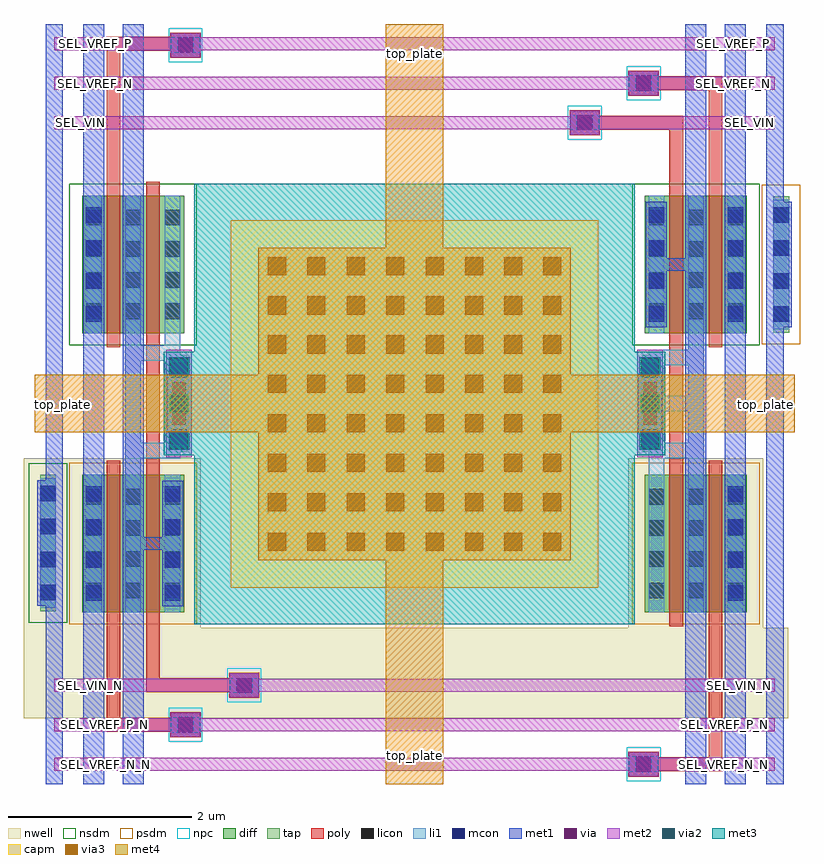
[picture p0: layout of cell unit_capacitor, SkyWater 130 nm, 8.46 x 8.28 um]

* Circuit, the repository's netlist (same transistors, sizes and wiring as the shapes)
***********************************************************
* CDL produced by pvsBuildNetlist on Jul 15 21:54:35 2026 *
***********************************************************


*pvsViewList = auCdl schematic
*pvsStopList = ("auCdl")
*pvsSimName  = auCdl



*.EXPAND_ON_M_FACTOR
*.MEGA



.subckt unit_capacitor SEL_VIN SEL_VIN_N SEL_VREF_N SEL_VREF_N_N SEL_VREF_P
+  SEL_VREF_P_N VDD VIN VREF_N VREF_P VSS top_plate
*PVSCELL netlisted from NS_SAR_Analog unit_capacitor schematic
  CC0 top_plate bottom_plate cap_mim_m3__base l=4u w=4u m=1
  MNM0 VIN SEL_VIN bottom_plate VSS nfet_01v8 M=1 L=150n W=1.5u
  MNM1 bottom_plate SEL_VIN_N bottom_plate VSS nfet_01v8 M=1 L=150n W=1.5u
  MNM2 bottom_plate SEL_VREF_P VREF_P VSS nfet_01v8 M=1 L=150n W=1.5u
  MNM3 bottom_plate SEL_VREF_N VREF_N VSS nfet_01v8 M=1 L=150n W=1.5u
  MPM0 bottom_plate SEL_VIN_N VIN VDD pfet_01v8 M=1 L=150n W=1.5u
  MPM1 bottom_plate SEL_VIN bottom_plate VDD pfet_01v8 M=1 L=150n W=1.5u
  MPM2 VREF_P SEL_VREF_P_N bottom_plate VDD pfet_01v8 M=1 L=150n W=1.5u
  MPM3 VREF_N SEL_VREF_N_N bottom_plate VDD pfet_01v8 M=1 L=150n W=1.5u
.ends unit_capacitor


***********************************************************
*             Completed at Jul 15 21:54:35 2026           *
***********************************************************

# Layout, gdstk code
from math import pi, radians
import gdstk
lib = gdstk.Library(unit=1e-6, precision=1e-09)
def R(c, l, rs):  # rectangles x0, y0, x1, y1
    for r in rs: c.add(gdstk.rectangle(r[:2], r[2:], *l))
def A(c, l, x, y, w, h, nx, ny, dx, dy):  # array of equal rectangles
    R(c, l, [(x+i*dx, y+j*dy, x+i*dx+w, y+j*dy+h) for i in range(nx) for j in range(ny)])
nwell = (64, 20)
diff = (65, 20)
tap = (65, 44)
poly = (66, 20)
licon = (66, 44)
li1 = (67, 20)
mcon = (67, 44)
met1 = (68, 20)
via = (68, 44)
met2 = (69, 20)
via2 = (69, 44)
met3 = (70, 20)
via3 = (70, 44)
met4 = (71, 20)
capm = (89, 44)
nsdm = (93, 44)
psdm = (94, 20)
npc = (95, 20)

cap_mim_m3__base__10 = lib.new_cell('cap_mim_m3__base$$10')
R(cap_mim_m3__base__10, met3, [(-0.4,-0.4,4.4,4.4)])
A(cap_mim_m3__base__10, via3, 0.4, 0.4, 0.2, 0.2, 6, 6, 0.43, 0.43)
A(cap_mim_m3__base__10, via3, 2.975, 0.4, 0.2, 0.2, 1, 6, 0, 0.43)
A(cap_mim_m3__base__10, via3, 3.4, 0.4, 0.2, 0.2, 1, 6, 0, 0.43)
A(cap_mim_m3__base__10, via3, 0.4, 2.975, 0.2, 0.2, 6, 2, 0.43, 0.425)
R(cap_mim_m3__base__10, via3, [(2.975,2.975,3.175,3.175), (3.4,2.975,3.6,3.175), (2.975,3.4,3.175,3.6), (3.4,3.4,3.6,3.6)])
R(cap_mim_m3__base__10, met4, [(0.3,0.3,3.7,3.7)])
R(cap_mim_m3__base__10, capm, [(0,0,4,4)])

pfet_01v8__11 = lib.new_cell('pfet_01v8$$11')
R(pfet_01v8__11, nwell, [(-0.405,-0.18,0.595,1.68)])
R(pfet_01v8__11, diff, [(-0.225,0,0,1.5), (0,0,0.15,1.5), (0.15,0,0.415,1.5)])
R(pfet_01v8__11, poly, [(0,-0.15,0.15,-0.095), (0,-0.095,0.15,0), (0,0,0.15,1.5), (0,1.5,0.15,1.595), (0,1.595,0.15,1.65)])
A(pfet_01v8__11, licon, -0.225, 0.155, 0.17, 0.17, 1, 4, 0, 0.34)
A(pfet_01v8__11, licon, 0.205, 0.155, 0.17, 0.17, 1, 4, 0, 0.34)
R(pfet_01v8__11, li1, [(-0.225,0,-0.055,1.5), (0.205,0,0.375,1.5)])
R(pfet_01v8__11, psdm, [(-0.235,-0.13,0.555,1.63)])

pfet_01v8__12 = lib.new_cell('pfet_01v8$$12')
R(pfet_01v8__12, nwell, [(-0.445,-0.18,0.385,1.68)])
R(pfet_01v8__12, diff, [(-0.265,0,0,1.5), (0,0,0.15,1.5), (0.15,0,0.205,1.5)])
R(pfet_01v8__12, poly, [(0,-0.15,0.15,-0.095), (0,-0.095,0.15,0), (0,0,0.15,1.5), (0,1.5,0.15,1.595), (0,1.595,0.15,1.65)])
A(pfet_01v8__12, licon, -0.225, 0.155, 0.17, 0.17, 1, 4, 0, 0.34)
R(pfet_01v8__12, li1, [(-0.225,0,-0.055,1.5)])
R(pfet_01v8__12, psdm, [(-0.405,-0.13,0.215,1.63)])

nfet_01v8__13 = lib.new_cell('nfet_01v8$$13')
R(nfet_01v8__13, diff, [(-0.265,0,0,1.5), (0,0,0.15,1.5), (0.15,0,0.375,1.5)])
R(nfet_01v8__13, poly, [(0,-0.15,0.15,-0.095), (0,-0.095,0.15,0), (0,0,0.15,1.5), (0,1.5,0.15,1.595), (0,1.595,0.15,1.65)])
A(nfet_01v8__13, licon, -0.225, 0.155, 0.17, 0.17, 1, 4, 0, 0.34)
A(nfet_01v8__13, licon, 0.205, 0.155, 0.17, 0.17, 1, 4, 0, 0.34)
R(nfet_01v8__13, li1, [(-0.225,0,-0.055,1.5), (0.205,0,0.375,1.5)])
R(nfet_01v8__13, nsdm, [(-0.405,-0.13,0.385,1.63)])

nfet_01v8__14 = lib.new_cell('nfet_01v8$$14')
R(nfet_01v8__14, diff, [(-0.055,0,0,1.5), (0,0,0.15,1.5), (0.15,0,0.415,1.5)])
R(nfet_01v8__14, poly, [(0,-0.15,0.15,-0.095), (0,-0.095,0.15,0), (0,0,0.15,1.5), (0,1.5,0.15,1.595), (0,1.595,0.15,1.65)])
A(nfet_01v8__14, licon, 0.205, 0.155, 0.17, 0.17, 1, 4, 0, 0.34)
R(nfet_01v8__14, li1, [(0.205,0,0.375,1.5)])
R(nfet_01v8__14, nsdm, [(-0.065,-0.13,0.555,1.63)])

polyconn__1 = lib.new_cell('polyConn$$1')
R(polyconn__1, poly, [(-0.135,-0.165,0.135,0.165)])
R(polyconn__1, licon, [(-0.085,-0.085,0.085,0.085)])
R(polyconn__1, li1, [(-0.085,-0.165,0.085,0.165)])
R(polyconn__1, mcon, [(-0.085,-0.085,0.085,0.085)])
R(polyconn__1, met1, [(-0.13,-0.16,0.13,0.16)])
R(polyconn__1, npc, [(-0.185,-0.185,0.185,0.185)])

m1m2_c__2 = lib.new_cell('M1M2_C$$2')
R(m1m2_c__2, met1, [(-0.13,-0.16,0.13,0.16)])
R(m1m2_c__2, via, [(-0.075,-0.075,0.075,0.075)])
R(m1m2_c__2, met2, [(-0.13,-0.16,0.13,0.16)])

l1m1_c__3 = lib.new_cell('L1M1_C$$3')
R(l1m1_c__3, li1, [(-0.085,-0.525,0.085,0.525)])
A(l1m1_c__3, mcon, -0.085, -0.445, 0.17, 0.17, 1, 3, 0, 0.36)
R(l1m1_c__3, met1, [(-0.115,-0.505,0.115,0.505)])

m1m2_c__4 = lib.new_cell('M1M2_C$$4')
R(m1m2_c__4, met1, [(-0.13,-0.32,0.13,0.32)])
R(m1m2_c__4, via, [(-0.075,-0.235,0.075,-0.085), (-0.075,0.085,0.075,0.235)])
R(m1m2_c__4, met2, [(-0.14,-0.385,0.14,0.385)])

l1m1_c__5 = lib.new_cell('L1M1_C$$5')
R(l1m1_c__5, li1, [(-0.1,-0.3,0.1,0.3)])
R(l1m1_c__5, mcon, [(-0.085,-0.085,0.085,0.085)])
R(l1m1_c__5, met1, [(-0.13,-0.32,0.13,0.32)])

nwelltap__6 = lib.new_cell('nwellTap$$6')
R(nwelltap__6, nwell, [(-0.265,-0.925,0.265,0.925)])
R(nwelltap__6, tap, [(-0.085,-0.745,0.085,0.745)])
A(nwelltap__6, licon, -0.085, -0.625, 0.17, 0.17, 1, 4, 0, 0.36)
R(nwelltap__6, li1, [(-0.085,-0.705,0.085,0.705)])
A(nwelltap__6, mcon, -0.085, -0.625, 0.17, 0.17, 1, 4, 0, 0.36)
R(nwelltap__6, met1, [(-0.115,-0.685,0.115,0.685)])
R(nwelltap__6, nsdm, [(-0.21,-0.87,0.21,0.87)])

subtap__7 = lib.new_cell('subTap$$7')
R(subtap__7, tap, [(-0.085,-0.745,0.085,0.745)])
A(subtap__7, licon, -0.085, -0.625, 0.17, 0.17, 1, 4, 0, 0.36)
R(subtap__7, li1, [(-0.085,-0.705,0.085,0.705)])
A(subtap__7, mcon, -0.085, -0.625, 0.17, 0.17, 1, 4, 0, 0.36)
R(subtap__7, met1, [(-0.115,-0.685,0.115,0.685)])
R(subtap__7, psdm, [(-0.21,-0.87,0.21,0.87)])

l1m1_c__8 = lib.new_cell('L1M1_C$$8')
R(l1m1_c__8, li1, [(-0.085,-0.705,0.085,0.705)])
A(l1m1_c__8, mcon, -0.085, -0.625, 0.17, 0.17, 1, 4, 0, 0.36)
R(l1m1_c__8, met1, [(-0.115,-0.685,0.115,0.685)])

m2m3_c__9 = lib.new_cell('M2M3_C$$9')
R(m2m3_c__9, met2, [(-0.14,-0.585,0.14,0.585)])
A(m2m3_c__9, via2, -0.1, -0.5, 0.2, 0.2, 1, 3, 0, 0.4)
R(m2m3_c__9, met3, [(-0.165,-0.565,0.165,0.565)])

unit_capacitor = lib.new_cell('unit_capacitor')
R(unit_capacitor, nwell, [(-0.12,0.715,8.21,1.7)])
R(unit_capacitor, met1, [(0.145,0,0.285,0.23), (0.53,0,0.76,0.23), (0.96,0,1.19,0.23), (7.09,0,7.32,0.23), (7.52,0,7.75,0.23), (7.995,0,8.135,0.23), (0.145,8.05,0.285,8.28), (0.53,8.05,0.76,8.28), (0.96,8.05,1.19,8.28), (7.09,8.05,7.32,8.28), (7.52,8.05,7.75,8.28), (7.995,8.05,8.135,8.28)])
A(unit_capacitor, met2, 0.215, 0.145, 0.14, 0.14, 1, 3, 0, 0.43)
A(unit_capacitor, met2, 7.925, 0.145, 0.14, 0.14, 1, 3, 0, 0.43)
A(unit_capacitor, met2, 0.215, 7.135, 0.14, 0.14, 1, 3, 0, 0.43)
A(unit_capacitor, met2, 7.925, 7.135, 0.14, 0.14, 1, 3, 0, 0.43)
R(unit_capacitor, met4, [(3.825,0,4.455,0.63), (0,3.83,0.63,4.46), (7.65,3.83,8.28,4.46), (3.825,7.65,4.455,8.28)])
unit_capacitor.add(gdstk.FlexPath([(0.54,4.145),(2.44,4.145)], 0.63, ends="flush", simple_path=True, layer=71, datatype=20))  # met4
unit_capacitor.add(gdstk.FlexPath([(4.14,0.63),(4.14,2.44)], 0.63, ends="flush", simple_path=True, layer=71, datatype=20))  # met4
unit_capacitor.add(gdstk.FlexPath([(7.65,4.145),(5.84,4.145)], 0.63, ends="flush", simple_path=True, layer=71, datatype=20))  # met4
unit_capacitor.add(gdstk.FlexPath([(4.14,7.65),(4.14,5.84)], 0.63, ends="flush", simple_path=True, layer=71, datatype=20))  # met4
unit_capacitor.add(gdstk.FlexPath([(7.205,4.645),(7.205,4.91)], 0.17, ends=(0.085, 0), simple_path=True, layer=67, datatype=20))  # li1
unit_capacitor.add(gdstk.FlexPath([(7.205,3.635),(7.205,4.145)], 0.17, ends="extended", simple_path=True, layer=67, datatype=20))  # li1
unit_capacitor.add(gdstk.FlexPath([(1.075,4.695),(1.075,4.91)], 0.17, ends=(0.085, 0), simple_path=True, layer=67, datatype=20))  # li1
unit_capacitor.add(gdstk.FlexPath([(6.775,3.635),(6.775,4.145)], 0.17, ends="extended", simple_path=True, layer=67, datatype=20))  # li1
unit_capacitor.add(gdstk.FlexPath([(1.075,3.37),(1.075,3.635)], 0.17, ends=(0, 0.085), simple_path=True, layer=67, datatype=20))  # li1
unit_capacitor.add(gdstk.FlexPath([(6.775,4.645),(6.775,4.145)], 0.17, ends="extended", simple_path=True, layer=67, datatype=20))  # li1
unit_capacitor.add(gdstk.FlexPath([(6.775,3.37),(6.775,3.635)], 0.17, ends=(0, 0.085), simple_path=True, layer=67, datatype=20))  # li1
unit_capacitor.add(gdstk.FlexPath([(1.075,3.635),(1.075,4.695)], 0.17, ends="extended", simple_path=True, layer=67, datatype=20))  # li1
unit_capacitor.add(gdstk.FlexPath([(7.205,3.635),(6.775,3.635)], 0.17, ends="extended", simple_path=True, layer=67, datatype=20))  # li1
unit_capacitor.add(gdstk.FlexPath([(7.205,4.645),(6.775,4.645)], 0.17, ends="extended", simple_path=True, layer=67, datatype=20))  # li1
unit_capacitor.add(gdstk.FlexPath([(7.205,4.145),(7.205,4.645)], 0.17, ends="extended", simple_path=True, layer=67, datatype=20))  # li1
unit_capacitor.add(gdstk.FlexPath([(1.505,3.635),(1.505,4.96)], 0.17, ends=(0.085, 0), simple_path=True, layer=67, datatype=20))  # li1
unit_capacitor.add(gdstk.FlexPath([(7.205,3.37),(7.205,3.635)], 0.17, ends=(0, 0.085), simple_path=True, layer=67, datatype=20))  # li1
unit_capacitor.add(gdstk.FlexPath([(1.075,4.695),(1.42,4.695)], 0.17, ends=(0.085, 0), simple_path=True, layer=67, datatype=20))  # li1
unit_capacitor.add(gdstk.FlexPath([(6.775,4.145),(7.205,4.145)], 0.17, ends="extended", simple_path=True, layer=67, datatype=20))  # li1
unit_capacitor.add(gdstk.FlexPath([(1.075,3.635),(1.505,3.635)], 0.17, ends="extended", simple_path=True, layer=67, datatype=20))  # li1
unit_capacitor.add(gdstk.FlexPath([(7.42,6.56),(7.42,7.635)], 0.15, ends=(0, 0.075), simple_path=True, layer=66, datatype=20))  # poly
unit_capacitor.add(gdstk.FlexPath([(6.99,7.205),(5.995,7.205)], 0.15, ends=(0.075, 0), simple_path=True, layer=66, datatype=20))  # poly
unit_capacitor.add(gdstk.FlexPath([(7.42,7.635),(6.635,7.635)], 0.15, ends=(0.075, 0), simple_path=True, layer=66, datatype=20))  # poly
unit_capacitor.add(gdstk.FlexPath([(0.86,1.72),(0.86,0.645)], 0.15, ends=(0, 0.075), simple_path=True, layer=66, datatype=20))  # poly
unit_capacitor.add(gdstk.FlexPath([(1.29,1.075),(2.285,1.075)], 0.15, ends=(0.075, 0), simple_path=True, layer=66, datatype=20))  # poly
unit_capacitor.add(gdstk.FlexPath([(7.42,1.72),(7.42,0.215)], 0.15, ends=(0, 0.075), simple_path=True, layer=66, datatype=20))  # poly
unit_capacitor.add(gdstk.FlexPath([(1.29,3.52),(1.29,4.76)], 0.15, ends="flush", simple_path=True, layer=66, datatype=20))  # poly
unit_capacitor.add(gdstk.FlexPath([(1.645,8.065),(1.645,8.05)], 0.15, ends=(0.075, 0), simple_path=True, layer=66, datatype=20))  # poly
unit_capacitor.add(gdstk.FlexPath([(1.29,1.72),(1.29,1.075)], 0.15, ends=(0, 0.075), simple_path=True, layer=66, datatype=20))  # poly
unit_capacitor.add(gdstk.FlexPath([(0.86,6.56),(0.86,8.065)], 0.15, ends=(0, 0.075), simple_path=True, layer=66, datatype=20))  # poly
unit_capacitor.add(gdstk.FlexPath([(6.99,6.56),(6.99,7.205)], 0.15, ends=(0, 0.075), simple_path=True, layer=66, datatype=20))  # poly
unit_capacitor.add(gdstk.FlexPath([(0.86,8.065),(1.645,8.065)], 0.15, ends="extended", simple_path=True, layer=66, datatype=20))  # poly
unit_capacitor.add(gdstk.FlexPath([(6.99,3.52),(6.99,4.76)], 0.15, ends="flush", simple_path=True, layer=66, datatype=20))  # poly
unit_capacitor.add(gdstk.FlexPath([(7.42,0.215),(6.635,0.215)], 0.15, ends=(0.075, 0), simple_path=True, layer=66, datatype=20))  # poly
unit_capacitor.add(gdstk.FlexPath([(0.86,0.645),(1.645,0.645)], 0.15, ends=(0.075, 0), simple_path=True, layer=66, datatype=20))  # poly
unit_capacitor.add(gdstk.FlexPath([(1.075,2.62),(1.505,2.62)], 0.14, ends=(0.115, 0), simple_path=True, layer=68, datatype=20))  # met1
unit_capacitor.add(gdstk.FlexPath([(7.205,8.28),(7.205,5.66)], 0.23, ends=(0, 0.07), simple_path=True, layer=68, datatype=20))  # met1
unit_capacitor.add(gdstk.FlexPath([(0.645,8.28),(0.645,0)], 0.23, ends="flush", simple_path=True, layer=68, datatype=20))  # met1
unit_capacitor.add(gdstk.FlexPath([(7.205,5.66),(6.775,5.66)], 0.14, ends=(0.115, 0), simple_path=True, layer=68, datatype=20))  # met1
unit_capacitor.add(gdstk.FlexPath([(1.075,8.28),(1.075,2.62)], 0.23, ends=(0, 0.07), simple_path=True, layer=68, datatype=20))  # met1
unit_capacitor.add(gdstk.FlexPath([(7.635,8.28),(7.635,0)], 0.23, ends="flush", simple_path=True, layer=68, datatype=20))  # met1
unit_capacitor.add(gdstk.FlexPath([(0.215,8.28),(0.215,0)], 0.19, ends="flush", simple_path=True, layer=68, datatype=20))  # met1
unit_capacitor.add(gdstk.FlexPath([(1.075,2.62),(1.075,0)], 0.23, ends=(0.07, 0), simple_path=True, layer=68, datatype=20))  # met1
unit_capacitor.add(gdstk.FlexPath([(8.065,8.28),(8.065,0)], 0.19, ends="flush", simple_path=True, layer=68, datatype=20))  # met1
unit_capacitor.add(gdstk.FlexPath([(7.205,5.66),(7.205,0)], 0.23, ends=(0.07, 0), simple_path=True, layer=68, datatype=20))  # met1
unit_capacitor.add(gdstk.FlexPath([(0.255,7.635),(8.025,7.635)], 0.14, ends="flush", simple_path=True, layer=69, datatype=20))  # met2
unit_capacitor.add(gdstk.FlexPath([(0.255,8.065),(8.025,8.065)], 0.14, ends="flush", simple_path=True, layer=69, datatype=20))  # met2
unit_capacitor.add(gdstk.FlexPath([(0.255,7.205),(8.025,7.205)], 0.14, ends="flush", simple_path=True, layer=69, datatype=20))  # met2
unit_capacitor.add(gdstk.FlexPath([(0.255,0.215),(8.025,0.215)], 0.14, ends="flush", simple_path=True, layer=69, datatype=20))  # met2
unit_capacitor.add(gdstk.FlexPath([(0.255,0.645),(8.025,0.645)], 0.14, ends="flush", simple_path=True, layer=69, datatype=20))  # met2
unit_capacitor.add(gdstk.FlexPath([(0.255,1.075),(8.025,1.075)], 0.14, ends="flush", simple_path=True, layer=69, datatype=20))  # met2
unit_capacitor.add(gdstk.Reference(cap_mim_m3__base__10, (2.14,2.14)))
unit_capacitor.add(gdstk.Reference(pfet_01v8__11, (0.935,1.87), rotation=pi, x_reflection=True))
unit_capacitor.add(gdstk.Reference(pfet_01v8__11, (7.345,1.87)))
unit_capacitor.add(gdstk.Reference(pfet_01v8__12, (6.915,1.87)))
unit_capacitor.add(gdstk.Reference(pfet_01v8__12, (1.365,1.87), rotation=pi, x_reflection=True))
unit_capacitor.add(gdstk.Reference(nfet_01v8__13, (0.785,4.91)))
unit_capacitor.add(gdstk.Reference(nfet_01v8__13, (7.495,4.91), rotation=pi, x_reflection=True))
unit_capacitor.add(gdstk.Reference(nfet_01v8__14, (1.215,4.91)))
unit_capacitor.add(gdstk.Reference(nfet_01v8__14, (7.065,4.91), rotation=pi, x_reflection=True))
unit_capacitor.add(gdstk.Reference(polyconn__1, (1.645,0.645), rotation=pi/2))
unit_capacitor.add(gdstk.Reference(polyconn__1, (6.635,7.635), rotation=pi/2))
unit_capacitor.add(gdstk.Reference(polyconn__1, (2.285,1.075), rotation=pi/2))
unit_capacitor.add(gdstk.Reference(polyconn__1, (5.995,7.205), rotation=pi/2))
unit_capacitor.add(gdstk.Reference(polyconn__1, (6.635,0.215), rotation=pi/2))
unit_capacitor.add(gdstk.Reference(polyconn__1, (1.645,8.05), rotation=pi/2))
unit_capacitor.add(gdstk.Reference(m1m2_c__2, (1.645,0.645), rotation=pi/2))
unit_capacitor.add(gdstk.Reference(m1m2_c__2, (6.635,7.635), rotation=pi/2))
unit_capacitor.add(gdstk.Reference(m1m2_c__2, (2.285,1.075), rotation=pi/2))
unit_capacitor.add(gdstk.Reference(m1m2_c__2, (5.995,7.205), rotation=pi/2))
unit_capacitor.add(gdstk.Reference(m1m2_c__2, (6.635,0.215), rotation=pi/2))
unit_capacitor.add(gdstk.Reference(m1m2_c__2, (1.645,8.05), rotation=pi/2))
unit_capacitor.add(gdstk.Reference(l1m1_c__3, (1.575,4.145)))
unit_capacitor.add(gdstk.Reference(l1m1_c__3, (6.705,4.145)))
unit_capacitor.add(gdstk.Reference(m1m2_c__4, (6.705,4.145)))
unit_capacitor.add(gdstk.Reference(m1m2_c__4, (1.575,4.145)))
unit_capacitor.add(gdstk.Reference(l1m1_c__5, (6.705,4.145)))
unit_capacitor.add(gdstk.Reference(l1m1_c__5, (1.575,4.145)))
unit_capacitor.add(gdstk.Reference(nwelltap__6, (0.145,2.625)))
unit_capacitor.add(gdstk.Reference(subtap__7, (8.135,5.66)))
unit_capacitor.add(gdstk.Reference(l1m1_c__8, (6.775,5.66)))
unit_capacitor.add(gdstk.Reference(l1m1_c__8, (1.505,2.62)))
unit_capacitor.add(gdstk.Reference(l1m1_c__8, (7.635,5.66)))
unit_capacitor.add(gdstk.Reference(l1m1_c__8, (0.645,5.66)))
unit_capacitor.add(gdstk.Reference(l1m1_c__8, (0.645,2.62)))
unit_capacitor.add(gdstk.Reference(l1m1_c__8, (7.635,2.62)))
unit_capacitor.add(gdstk.Reference(m2m3_c__9, (6.705,4.145)))
unit_capacitor.add(gdstk.Reference(m2m3_c__9, (1.575,4.145)))
unit_capacitor.add(gdstk.Label('SEL_VREF_N', (7.615,7.635), layer=69, texttype=5))
unit_capacitor.add(gdstk.Label('SEL_VIN', (7.785,7.205), layer=69, texttype=5))
unit_capacitor.add(gdstk.Label('SEL_VREF_P', (7.62,8.065), layer=69, texttype=5))
unit_capacitor.add(gdstk.Label('SEL_VREF_N_N', (7.51,0.215), layer=69, texttype=5))
unit_capacitor.add(gdstk.Label('SEL_VIN_N', (7.685,1.075), layer=69, texttype=5))
unit_capacitor.add(gdstk.Label('SEL_VREF_P_N', (7.52,0.645), layer=69, texttype=5))
unit_capacitor.add(gdstk.Label('SEL_VREF_N_N', (0.775,0.215), layer=69, texttype=5))
unit_capacitor.add(gdstk.Label('SEL_VIN_N', (0.605,1.075), layer=69, texttype=5))
unit_capacitor.add(gdstk.Label('SEL_VREF_P_N', (0.765,0.645), layer=69, texttype=5))
unit_capacitor.add(gdstk.Label('SEL_VREF_N', (0.665,7.635), layer=69, texttype=5))
unit_capacitor.add(gdstk.Label('SEL_VIN', (0.5,7.205), layer=69, texttype=5))
unit_capacitor.add(gdstk.Label('SEL_VREF_P', (0.665,8.065), layer=69, texttype=5))
unit_capacitor.add(gdstk.Label('VREF_P', (0.6,0.07), layer=68, texttype=5))
unit_capacitor.add(gdstk.Label('VIN', (1.03,0.07), layer=68, texttype=5))
unit_capacitor.add(gdstk.Label('VDD', (0.215,0.07), layer=68, texttype=5))
unit_capacitor.add(gdstk.Label('VSS', (8.065,0.07), layer=68, texttype=5))
unit_capacitor.add(gdstk.Label('VIN', (7.16,0.07), layer=68, texttype=5))
unit_capacitor.add(gdstk.Label('VREF_N', (7.59,0.07), layer=68, texttype=5))
unit_capacitor.add(gdstk.Label('VSS', (8.065,8.12), layer=68, texttype=5))
unit_capacitor.add(gdstk.Label('VIN', (7.16,8.12), layer=68, texttype=5))
unit_capacitor.add(gdstk.Label('VREF_N', (7.59,8.12), layer=68, texttype=5))
unit_capacitor.add(gdstk.Label('VREF_P', (0.6,8.12), layer=68, texttype=5))
unit_capacitor.add(gdstk.Label('VIN', (1.03,8.12), layer=68, texttype=5))
unit_capacitor.add(gdstk.Label('VDD', (0.215,8.12), layer=68, texttype=5))
unit_capacitor.add(gdstk.Label('top_plate', (0.31,4.14), layer=71, texttype=5))
unit_capacitor.add(gdstk.Label('top_plate', (7.96,4.14), layer=71, texttype=5))
unit_capacitor.add(gdstk.Label('top_plate', (4.135,0.31), layer=71, texttype=5))
unit_capacitor.add(gdstk.Label('top_plate', (4.135,7.96), layer=71, texttype=5))

lib.write_gds('unit_capacitor.gds')
